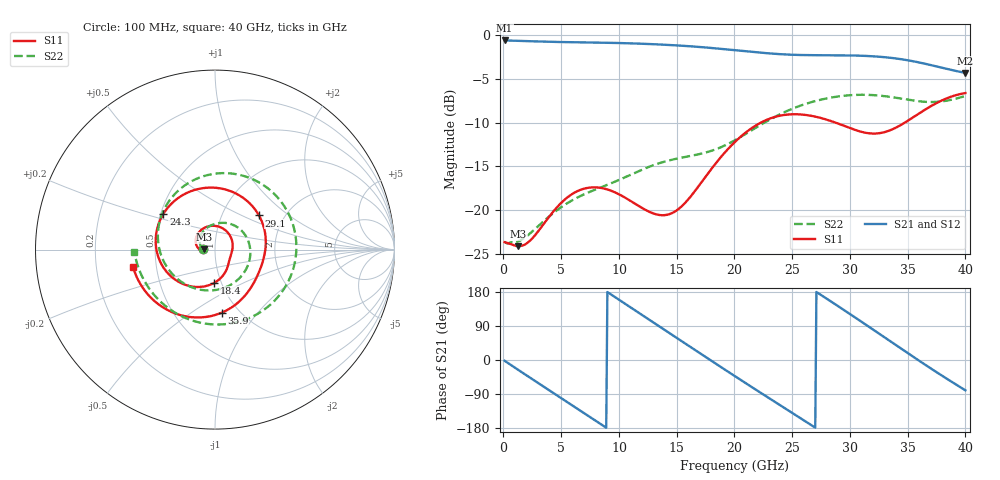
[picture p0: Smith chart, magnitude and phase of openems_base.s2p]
! D_s8_cap_10: L1 (ref L2 GND) → L3 (ref L4 PWR), capacitor GND–PWR at 10 mm
! stackup: 8-layer 1.6 mm FR-4 (generic)
! ports: 1, 2
! openEMS 0.37.0, staircase, base mesh (dfine 0.035 mm), 1658475 cells
# Hz S RI R 50
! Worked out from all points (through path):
!   400 points, 100 MHz to 40 GHz, reference 50 ohm
!   highest |S21| = -0.60 dB at 100 MHz (marker M1); lowest = -4.3 dB at 40 GHz (marker M2)
!   group delay of S21, straight-line fit = 55.5 ps
!   lowest |S11| = -24.1 dB at 1.3 GHz (marker M3), VSWR 1.13, Z = 44.1 + j0.126 ohm
!   |S11| at or under -10 dB: start of sweep to 22.29 GHz; 28.75 GHz to 34.75 GHz (5.997 GHz wide, 18.9 % of centre)
!   |S22| runs from -23.8 to -6.8 dB; largest |S21 - S12| = 0.0041
!   S11 on the Smith chart (normalised r, x): 100 MHz: 0.88, +0.00; 18.4 GHz: 0.93, -0.36; 24.3 GHz: 0.52, +0.23; 29.1 GHz: 1.49, +0.63; 35.9 GHz: 0.83, -0.67; 40 GHz: 0.37, -0.09
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1e8  -0.0656 0.000662  0.9321 -0.0336  0.9325 -0.0341  -0.0659 0.00133
1.3e9  -0.0622 0.00142  0.8304 -0.4138  0.8304 -0.414  -0.0662 0.00571
4.1e9  -0.0939 0.0084  0.117 -0.9088  0.1169 -0.9088  -0.085 0.0393
5.4e9  -0.1075 0.0442  -0.2912 -0.8647  -0.2911 -0.8646  -0.0826 0.0698
6.8e9  -0.0895 0.0963  -0.6604 -0.6251  -0.6604 -0.6251  -0.0648 0.1028
8.3e9  -0.0281 0.1314  -0.8818 -0.2097  -0.8818 -0.2096  -0.0315 0.13
9.8e9  0.0463 0.1162  -0.864 0.2604  -0.8638 0.2605  0.0126 0.1462
1.17e10  0.0965 0.043  -0.5126 0.7335  -0.5123 0.7332  0.0864 0.1429
1.34e10  0.0922 -0.0183  -0.0101 0.8853  -0.0107 0.8849  0.1595 0.0928
1.47e10  0.0819 -0.0517  0.3782 0.7905  0.3773 0.7909  0.1943 0.0153
1.62e10  0.0702 -0.0966  0.7144 0.4854  0.7145 0.4866  0.178 -0.0997
1.84e10  -0.00456 -0.1855  0.8275 -0.1458  0.8289 -0.1461  0.0204 -0.2219
2.01e10  -0.1408 -0.2033  0.5914 -0.5675  0.5917 -0.5688  -0.1555 -0.1983
2.22e10  -0.3079 -0.0618  0.0677 -0.7922  0.0667 -0.7927  -0.3049 -0.0172
2.43e10  -0.2874 0.1994  -0.4556 -0.6287  -0.4564 -0.6281  -0.2812 0.2284
2.67e10  -0.008 0.3453  -0.7623 -0.0985  -0.7616 -0.0974  -0.0581 0.4107
2.91e10  0.2449 0.1903  -0.5846 0.4972  -0.5833 0.4956  0.2425 0.376
3.13e10  0.2758 -0.0278  -0.0647 0.7587  -0.0675 0.7575  0.4343 0.1395
3.34e10  0.2159 -0.1854  0.4631 0.5822  0.4621 0.586  0.405 -0.1835
3.59e10  0.0364 -0.3519  0.7004 -0.000292  0.7044 -0.000639  0.0584 -0.4153
3.8e10  -0.2487 -0.3442  0.4845 -0.4345  0.4847 -0.4378  -0.2863 -0.3053
4e10  -0.457 -0.0943  0.1058 -0.5993  0.1035 -0.6003  -0.4494 -0.0108
